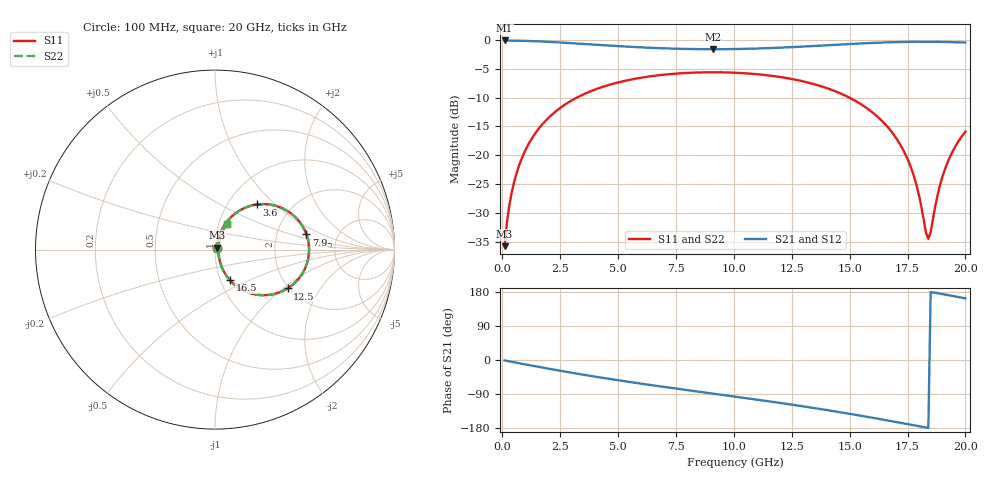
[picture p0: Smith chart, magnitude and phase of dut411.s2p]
! Touchstone file exported from HFSS 2026.1.0
!  File:  C:/ffzhzh/LocalFiles/Ansys_Project_Files/temp_train_TSV_RDL_411_1783094264_53076.aedt
!  Generated:  12:08:31 AM Jul  4, 2026
!  Design:  TSV_RDL
!  Project:  temp_train_TSV_RDL_411_1783094264_53076
! Variables:
!  h_bsmrdl = 5.06um
!  h_ox = 20um
!  h_rdl = 5um
!  h_sub = 70.29um
!  h_tmrdl = 5.59um
!  h_tsv = 70.29um
!  h_via = 3um
!  l_bsmrdl = 789.67um
!  l_sub = 3370.12um
!  l_tmrdl = 108.03um
!  m_sub = 200um
!  pitch = 58.24um
!  r_tsv = 4.09um
!  s_tmrdl = 10um
!  w_bsmrdl = 29.33um
!  w_sub = 500um
!  w_tmrdl = 27um
!  x_tsv_center1 = 121.53um
!  x_tsv_center2 = 940.53um
!  x_tsv_center3 = 1075.56um
!  x_tsv_center4 = 1894.56um
!  x_tsv_center5 = 2029.59um
!  x_tsv_center6 = 2848.59um
# GHz S MA R 50.000000
! Terminal data exported
! Port[1] = TM_RDL1_1_T1
! Port[2] = TM_RDL5_1_T1
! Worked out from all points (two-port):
!   200 points, 100 MHz to 20 GHz, reference 50 ohm
!   highest |S21| = -0.10 dB at 100 MHz (marker M1); lowest = -1.6 dB at 9.1 GHz (marker M2)
!   |S21| within 3 dB of the highest: start of sweep to end of sweep
!   lowest |S11| = -35.8 dB at 100 MHz (marker M3), VSWR 1.03, Z = 51.1 + j1.19 ohm
!   |S11| at or under -10 dB: start of sweep to 3.223 GHz; 14.99 GHz to end of sweep
!   |S22| runs from -35.8 to -5.6 dB; largest |S21 - S12| = 1.7e-14
!   S11 on the Smith chart (normalised r, x): 100 MHz: 1.02, +0.02; 3.6 GHz: 1.36, +0.77; 7.9 GHz: 2.96, +0.68; 12.5 GHz: 1.96, -1.08; 16.5 GHz: 1.11, -0.39; 20 GHz: 1.09, +0.33
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0.1  0.01628 45.9  0.9888 -1.2  0.9888 -1.2  0.01628 45.9
! Gamma 0 0 0 0
! Port Impedance 50 0 50 0
0.3  0.0363 66.9  0.9873 -3.6  0.9873 -3.6  0.0363 66.9
0.5  0.05744 71.4  0.9858 -5.9  0.9858 -5.9  0.05744 71.4
1.1  0.1213 70.7  0.979 -12.8  0.979 -12.8  0.1213 70.7
2.1  0.2209 61.8  0.9595 -24.1  0.9595 -24.1  0.2209 61.8
3.5  0.3368 47.9  0.9227 -38.9  0.9227 -38.9  0.3368 47.9
3.6  0.3439 47.0  0.9199 -39.9  0.9199 -39.9  0.3439 47.0
6.8  0.4948 18.4  0.8475 -69.4  0.8475 -69.4  0.4948 18.4
7.9  0.5163 9.4  0.8349 -78.7  0.8349 -78.7  0.5162 9.4
9.1  0.5241 -0.2  0.8302 -88.7  0.8302 -88.7  0.5241 -0.2
10.1  0.5186 -8.2  0.8333 -97.0  0.8333 -97.0  0.5186 -8.2
12.5  0.4582 -28.2  0.8652 -117.8  0.8652 -117.8  0.4582 -28.2
13.4  0.4167 -36.1  0.884 -126.1  0.884 -126.1  0.4167 -36.1
15.2  0.3 -52.5  0.9251 -144.0  0.9251 -144.0  0.3 -52.5
16.5  0.189 -64.0  0.95 -158.0  0.95 -158.0  0.189 -64.0
16.7  0.1703 -65.6  0.9529 -160.2  0.9529 -160.2  0.1703 -65.6
17.3  0.1126 -68.8  0.9597 -166.9  0.9597 -166.9  0.1126 -68.8
17.7  0.07334 -68.0  0.9624 -171.4  0.9624 -171.4  0.07334 -68.0
18.4  0.01884 0.8  0.9635 -179.3  0.9635 -179.3  0.0189 0.8
18.8  0.04532 60.4  0.9619 176.2  0.9619 176.2  0.04536 60.3
19.1  0.07393 66.9  0.9596 172.8  0.9596 172.8  0.07396 66.8
20  0.1602 65.1  0.9482 162.8  0.9482 162.8  0.1603 65.0
